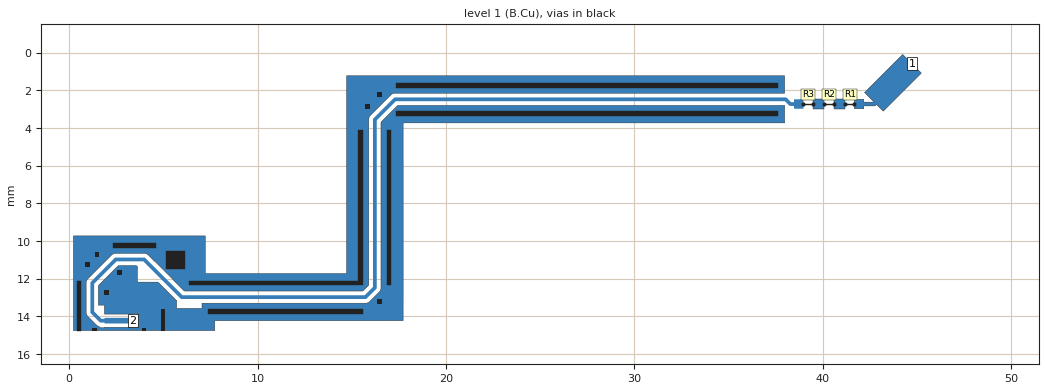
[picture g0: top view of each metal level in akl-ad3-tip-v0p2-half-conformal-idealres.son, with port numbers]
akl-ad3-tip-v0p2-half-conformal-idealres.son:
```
FTYP SONPROJ 19 ! Sonnet Project File
VER 18.01
HEADER
LIC antikernel2.1.51176 90e2ba8817c1 havequick azonenberg FullLicense
DAT 10/10/2021 12:56:38
BUILT_BY_CREATED dxf 18.01 09/25/2021 05:46:11
BUILT_BY_SAVED sonnet 18.01
MDATE 10/08/2021 20:35:02
HDATE 10/08/2021 20:35:02
ANN Created by dxfgeo, Sonnet Software Inc.
END HEADER
DIM
ANG DEG
CAP PF
CON /OH
FREQ GHZ
IND NH
LNG MM
RES OH
END DIM
CONTROL
VARSWP
OPTIONS  -dj
SPEED 1
CACHE_ABS 2
Q_ACC N
END CONTROL
GEO
TMET "Free Space" 0 FREESPACE 376.7303136 0 0 0
BMET "Lossless" 0 SUP 0 0 0 0
MET "Copper 1oz thick" 1 TMM 58000000 0.5 0.035 2
MET "Unknown_metal" 1 VOL INF 0
BOX 2 50 15 4000 1200 20 0
      5 1 1 0 0 0 0 "Air"
      0.035 4.3 1 0.02 0 0 0 "Soldermask"
      0.1016 3.2 1 0.002 0 0 0 "Panasonic R-F775"
TECHLAY METAL B.Cu L1D0 -1 -65534 
1 0 0 N 229 1 1 100 100 0 0 0 Y
END
END
TECHLAY VIA Via1 L2D0 -2 -65534 
VIA POLYGON
1 0 -1 N 1020 1 1 100 100 0 0 0 Y
TOLEVEL 2 RING NOCOVERS
END
END
TECHLAY METAL B.Cu_Conformal <UNSPECIFIED> -3 0 
1 0 0 V 464 1 1 100 100 0 0 0 Y
END
END
LORGN 0 15 U 
POR1 CUP Auto
GNDREF AUTO
TERMW FEED
POLY 21 1
19
1 50 0 0 0 44.736 0.589 NONE 3
CUPGRP "Auto" LOCAL
ID 1027
END
POR1 CUP Auto
GNDREF AUTO
TERMW FEED
POLY 474 1
123
2 50 0 0 0 3.375 14.225 
CUPGRP "Auto" LOCAL
ID 1029
DRP1 LEFT NONE 2
END
SMD 1 "R1"
ID 255
GNDREF AUTO
DRP1 RIGHT NONE 1
DRP1 LEFT NONE 1
SBOX 41.3 41.55 2.6 2.85
PBSHW N
LPOS 41.425 2.6
TYPE IDEAL RES 200
SMDP 1 41.675 2.725 R 3 1 
EXSMDP
GNDREF AUTO
TERMW FEED
END EXSMDP
SMDP 1 41.175 2.725 L 4 2 
EXSMDP
GNDREF AUTO
TERMW FEED
END EXSMDP
END
SMD 1 "R2"
ID 282
GNDREF AUTO
DRP1 RIGHT NONE 1
DRP1 LEFT NONE 1
SBOX 40.2 40.45 2.6 2.85
PBSHW N
LPOS 40.325 2.6
TYPE IDEAL RES 200
SMDP 1 40.575 2.725 R 5 1 
EXSMDP
GNDREF AUTO
TERMW FEED
END EXSMDP
SMDP 1 40.075 2.725 L 6 2 
EXSMDP
GNDREF AUTO
TERMW FEED
END EXSMDP
END
SMD 1 "R3"
ID 287
GNDREF AUTO
DRP1 RIGHT NONE 1
DRP1 LEFT NONE 1
SBOX 39.1 39.35 2.6 2.85
PBSHW N
LPOS 39.225 2.6
TYPE IDEAL RES 50
SMDP 1 39.475 2.725 R 7 1 
EXSMDP
GNDREF AUTO
TERMW FEED
END EXSMDP
SMDP 1 38.975 2.725 L 8 2 
EXSMDP
GNDREF AUTO
TERMW FEED
END EXSMDP
END
NUM 23
1 5 0 N 5 1 1 100 100 0 0 0 Y
TLAYNAM B.Cu INH
39.475 2.975
39.475 2.475
40.075 2.475
40.075 2.975
39.475 2.975
END
1 5 0 N 6 1 1 100 100 0 0 0 Y
TLAYNAM B.Cu INH
40.575 2.975
40.575 2.475
41.175 2.475
41.175 2.975
40.575 2.975
END
1 381 0 N 485 1 1 100 100 0 0 0 Y
TLAYNAM B.Cu INH
7.726 14.487
7.724 14.477
7.724 14.472
7.726 14.463
7.726 14.226
7.963 14.226
7.973 14.224
7.978 14.224
7.987 14.226
16.581 14.226
16.5865 14.225
17.725 14.225
17.725 13.0865
17.726 13.081
17.726 5.9
17.725 5.9
17.725 4.732
17.724 4.727
17.724 4.724
17.725 4.714
17.725 4.713
17.725 3.725
18.718 3.725
18.723 3.724
18.73 3.724
18.734 3.725
20.025 3.725
20.025 3.726
37.869 3.726
37.8745 3.725
37.975 3.725
37.975 3.6245
37.976 3.619
37.976 2.925
37.975 2.9195
37.975 2.8
37.85 2.8
37.85 2.8
17.474 2.8
17.465 2.801
17.454 2.803
17.444 2.806
17.434 2.81
17.429 2.813
17.423 2.816
17.417 2.821
17.415 2.822
17.406 2.829
16.58 3.655
16.566 3.673
16.561 3.683
16.557 3.693
16.554 3.704
16.552 3.714
16.552 3.716
16.55 3.726
16.55 12.462
16.552 12.471
16.552 12.476
16.551 12.48
16.55 12.49
16.544 12.541
16.527 12.601
16.497 12.657
16.456 12.706
16.453 12.709
16.45 12.711
16.444 12.716
15.966 13.194
15.957 13.206
15.956 13.207
15.908 13.246
15.847 13.278
15.786 13.296
15.748 13.3
15.738 13.3
15.729 13.302
15.722 13.302
15.71 13.3
7.05 13.3
7.05 13.575
5.7 13.575
5.7 13.24466667
5.702 13.238
5.704 13.227
5.705 13.216
5.705 13.205
5.704 13.194
5.702 13.183
5.7 13.17633333
5.7 13.15
5.6872 13.15
5.683 13.143
5.676 13.135
5.668 13.128
4.759 12.219
4.756 12.214
4.748 12.206
4.739 12.199
4.73 12.193
4.72 12.188
4.71 12.184
4.699 12.181
4.689 12.179
4.678 12.177
4.666 12.177
4.655 12.179
3.625 12.179
3.625 11.4535
3.626 11.451
3.629 11.44
3.632 11.43
3.633 11.419
3.633 11.407
3.632 11.396
3.629 11.386
3.626 11.375
3.625 11.3725
3.625 11.35
3.613666667 11.35
3.611 11.346
3.604 11.337
3.596 11.33
3.578 11.316
3.568 11.311
3.558 11.307
3.548 11.304
3.547 11.304
3.537 11.302
3.526 11.3
2.649 11.3
2.64 11.301
2.629 11.303
2.619 11.306
2.609 11.31
2.604 11.313
2.598 11.316
2.592 11.321
2.59 11.322
2.581 11.329
1.591 12.319
1.587 12.322
1.58 12.33
1.566 12.348
1.561 12.358
1.557 12.368
1.554 12.378
1.554 12.379
1.552 12.389
1.55 12.4
1.55 12.975
1.55 12.975
1.55 13.286
1.55 13.286
1.55 13.286
1.55 13.4
1.875 13.4
1.875 13.575
1.875 13.875
3.375 13.875
3.375 13.85
3.386 13.851
3.602 13.851
3.626 13.875
3.621 13.927
3.608 13.969
3.608 13.97
3.607 13.972
3.599 13.992
3.597 14.003
3.596 14.014
3.596 14.027
3.601 14.069
3.601 14.38
3.597 14.424
3.596 14.436
3.6 14.458
3.603 14.468
3.603 14.469
3.605 14.473
3.606 14.478
3.607 14.478
3.607 14.479
3.622 14.528
3.626 14.575
3.601 14.6
3.386 14.6
3.381 14.601
3.375 14.601
3.375 14.575
1.875 14.575
1.875 14.601
1.869 14.601
1.864 14.6
1.649 14.6
1.619 14.57
1.612 14.562
1.604 14.554
1.596 14.547
1.586 14.541
1.577 14.536
1.566 14.531
1.548 14.526
1.505 14.503
1.504 14.502
1.487 14.491
1.444 14.456
1.441 14.453
1.439 14.45
1.434 14.444
1.006 14.016
0.994 14.007
0.993 14.006
0.954 13.958
0.922 13.897
0.906 13.842
0.901 13.802
0.901 13.79
0.899 13.779
0.899 13.778
0.901 13.76
0.9 13.748
0.901 12.24
0.899 12.229
0.898 12.223
0.901 12.191
0.903 12.18
0.905 12.158
0.906 12.156
0.907 12.153
0.909 12.148
0.912 12.136
0.924 12.099
0.954 12.043
0.981 12.009
0.984 12.006
0.99 11.998
0.994 11.994
0.994 11.993
0.995 11.992
0.997 11.991
1 11.989
1.006 11.984
2.234 10.756
2.243 10.744
2.244 10.743
2.292 10.704
2.353 10.672
2.408 10.656
2.448 10.651
2.46 10.651
2.471 10.649
2.472 10.649
2.49 10.651
3.96 10.651
3.971 10.649
3.972 10.649
3.99 10.651
4.002 10.651
4.041 10.656
4.101 10.673
4.157 10.703
4.206 10.743
4.206 10.744
4.209 10.748
4.216 10.757
4.535 11.076
4.54 11.08
4.545 11.083
4.549 11.086
4.551 11.088
4.561 11.093
4.566 11.095
4.568 11.096
4.57 11.096
4.571 11.097
4.572670625 11.09745563
5.526544375 12.05132937
5.527 12.053
5.531 12.063
5.536 12.073
5.55 12.091
6.08 12.621
6.098 12.635
6.108 12.64
6.118 12.644
6.129 12.647
6.139 12.649
6.15 12.651
15.55 12.651
15.572 12.647
15.582 12.644
15.592 12.64
15.602 12.635
15.62 12.621
15.871 12.37
15.885 12.352
15.89 12.342
15.894 12.332
15.897 12.321
15.899 12.311
15.901 12.3
15.9 12.288
15.901 3.565
15.899 3.554
15.899 3.552
15.906 3.483
15.923 3.424
15.954 3.368
15.981 3.334
15.984 3.331
15.99 3.323
15.994 3.319
15.994 3.318
15.995 3.317
15.997 3.316
16 3.314
16.006 3.309
17.059 2.256
17.064 2.249
17.065 2.248
17.098 2.221
17.105 2.214
17.117 2.204
17.178 2.172
17.233 2.156
17.273 2.151
17.285 2.151
17.296 2.149
17.297 2.149
17.315 2.151
37.869 2.151
37.8745 2.15
37.975 2.15
37.975 2.0495
37.976 2.044
37.976 1.332
37.975 1.3265
37.975 1.225
37.487 1.225
37.472 1.227
37.471 1.227
37.463 1.225
14.725 1.225
14.725 1.45
14.725 3.119
14.725 3.119
14.725 3.119
14.725 3.25
14.725 3.25
14.725 11.463
14.727 11.478
14.727 11.479
14.725 11.487
14.725 11.724
14.723 11.725
14.487 11.725
14.472 11.727
14.471 11.727
14.463 11.725
7.487 11.725
7.472 11.727
7.471 11.727
7.463 11.725
7.226 11.725
7.226 11.487
7.224 11.477
7.224 11.472
7.226 11.463
7.226 10.869
7.225 10.8635
7.225 9.725
6.08 9.725
6.08 9.725
1.368 9.725
1.368 9.725
0.225 9.725
0.225 10.869
0.225 14.75
7.726 14.75
7.726 14.487
END
VIA POLYGON
1 5 -1 N 74 1 1 100 100 0 0 0 Y
TOLEVEL 2 RING NOCOVERS
TLAYNAM Via1 INH
16.85 12.35
16.85 4.1
17.1 4.1
17.1 12.35
16.85 12.35
END
VIA POLYGON
1 5 -1 N 75 1 1 100 100 0 0 0 Y
TOLEVEL 2 RING NOCOVERS
TLAYNAM Via1 INH
17.35 3.35
17.35 3.1
37.6 3.1
37.6 3.35
17.35 3.35
END
VIA POLYGON
1 5 -1 N 81 1 1 100 100 0 0 0 Y
TOLEVEL 2 RING NOCOVERS
TLAYNAM Via1 INH
7.35 13.85
7.35 13.6
15.6 13.6
15.6 13.85
7.35 13.85
END
VIA POLYGON
1 5 -1 N 91 1 1 100 100 0 0 0 Y
TOLEVEL 2 RING NOCOVERS
TLAYNAM Via1 INH
16.35 13.35
16.35 13.1
16.6 13.1
16.6 13.35
16.35 13.35
END
VIA POLYGON
1 5 -1 N 92 1 1 100 100 0 0 0 Y
TOLEVEL 2 RING NOCOVERS
TLAYNAM Via1 INH
1.85 12.85
1.85 12.6
2.1 12.6
2.1 12.85
1.85 12.85
END
VIA POLYGON
1 5 -1 N 96 1 1 100 100 0 0 0 Y
TOLEVEL 2 RING NOCOVERS
TLAYNAM Via1 INH
15.725 2.975
15.725 2.725
15.975 2.725
15.975 2.975
15.725 2.975
END
VIA POLYGON
1 5 -1 N 97 1 1 100 100 0 0 0 Y
TOLEVEL 2 RING NOCOVERS
TLAYNAM Via1 INH
16.35 2.35
16.35 2.1
16.6 2.1
16.6 2.35
16.35 2.35
END
VIA POLYGON
1 5 -1 N 98 1 1 100 100 0 0 0 Y
TOLEVEL 2 RING NOCOVERS
TLAYNAM Via1 INH
17.35 1.85
17.35 1.6
37.6 1.6
37.6 1.85
17.35 1.85
END
VIA POLYGON
1 5 -1 N 112 1 1 100 100 0 0 0 Y
TOLEVEL 2 RING NOCOVERS
TLAYNAM Via1 INH
2.54 11.8
2.54 11.55
2.79 11.55
2.79 11.8
2.54 11.8
END
VIA POLYGON
1 5 -1 N 113 1 1 100 100 0 0 0 Y
TOLEVEL 2 RING NOCOVERS
TLAYNAM Via1 INH
0.85 11.35
0.85 11.1
1.1 11.1
1.1 11.35
0.85 11.35
END
VIA POLYGON
1 5 -1 N 116 1 1 100 100 0 0 0 Y
TOLEVEL 2 RING NOCOVERS
TLAYNAM Via1 INH
1.35 10.85
1.35 10.6
1.6 10.6
1.6 10.85
1.35 10.85
END
VIA POLYGON
1 5 -1 N 117 1 1 100 100 0 0 0 Y
TOLEVEL 2 RING NOCOVERS
TLAYNAM Via1 INH
5.125 11.5
5.125 10.5
6.125 10.5
6.125 11.5
5.125 11.5
END
VIA POLYGON
1 5 -1 N 118 1 1 100 100 0 0 0 Y
TOLEVEL 2 RING NOCOVERS
TLAYNAM Via1 INH
2.35 10.35
2.35 10.1
4.6 10.1
4.6 10.35
2.35 10.35
END
VIA POLYGON
1 8 -1 N 392 1 1 100 100 0 0 0 Y
TOLEVEL 2 RING NOCOVERS
TLAYNAM Via1 INH
15.6 12.1
15.6 4.1
15.35 4.1
15.35 12.1
6.35 12.1
6.35 12.35
15.6 12.35
15.6 12.1
END
VIA POLYGON
1 5 -1 N 430 1 1 100 100 0 0 0 Y
TOLEVEL 2 RING NOCOVERS
TLAYNAM Via1 INH
0.65 12.1
0.4 12.1
0.4 14.75
0.65 14.75
0.65 12.1
END
VIA POLYGON
1 5 -1 N 431 1 1 100 100 0 0 0 Y
TOLEVEL 2 RING NOCOVERS
TLAYNAM Via1 INH
4.1 14.6
3.85 14.6
3.85 14.75
4.1 14.75
4.1 14.6
END
VIA POLYGON
1 5 -1 N 432 1 1 100 100 0 0 0 Y
TOLEVEL 2 RING NOCOVERS
TLAYNAM Via1 INH
1.451 14.619
1.201 14.619
1.201 14.75
1.451 14.75
1.451 14.619
END
VIA POLYGON
1 5 -1 N 433 1 1 100 100 0 0 0 Y
TOLEVEL 2 RING NOCOVERS
TLAYNAM Via1 INH
5.1 13.6
4.85 13.6
4.85 14.75
5.1 14.75
5.1 13.6
END
1 22 0 V 21 1 1 100 100 0 0 0 Y
TLAYNAM B.Cu_Conformal INH
43.209 3.106
42.847 2.744
42.792 2.799
42.785 2.805
42.776 2.811
42.768 2.816
42.759 2.819
42.749 2.822
42.74 2.824
42.73 2.825
42.175 2.825
42.175 2.975
41.675 2.975
41.675 2.475
42.175 2.475
42.175 2.625
42.684 2.625
42.706 2.603
42.219 2.116
44.241 0.094
45.231 1.084
43.209 3.106
END
1 125 0 V 474 1 1 100 100 0 0 0 Y
TLAYNAM B.Cu_Conformal INH
3.375 14.075
1.875 14.075
1.875 14.125
1.716 14.125
1.325 13.734
1.325 12.266
2.516 11.075
3.934 11.075
5.908 13.049
5.915 13.055
5.924 13.061
5.932 13.066
5.941 13.069
5.951 13.072
5.96 13.074
5.97 13.075
15.73 13.075
15.74 13.074
15.749 13.072
15.759 13.069
15.768 13.066
15.776 13.061
15.785 13.055
15.792 13.049
16.299 12.542
16.305 12.535
16.311 12.526
16.316 12.518
16.319 12.509
16.322 12.499
16.324 12.49
16.325 12.48
16.325 3.591
17.341 2.575
37.984 2.575
38.208 2.799
38.215 2.805
38.224 2.811
38.232 2.816
38.241 2.819
38.251 2.822
38.26 2.824
38.27 2.825
38.475 2.825
38.475 2.975
38.975 2.975
38.975 2.475
38.475 2.475
38.475 2.625
38.316 2.625
38.105 2.415
38.099 2.408
38.092 2.401
38.085 2.395
38.076 2.389
38.068 2.384
38.059 2.381
38.049 2.378
38.04 2.376
38.03 2.375
17.295 2.375
17.285 2.376
17.276 2.378
17.266 2.381
17.257 2.384
17.249 2.389
17.24 2.395
17.233 2.401
16.151 3.483
16.145 3.49
16.139 3.499
16.134 3.507
16.131 3.516
16.128 3.526
16.126 3.535
16.125 3.545
16.125 12.434
15.684 12.875
6.016 12.875
4.055 10.915
4.049 10.908
4.042 10.901
4.035 10.895
4.026 10.889
4.018 10.884
4.009 10.881
3.999 10.878
3.99 10.876
3.98 10.875
2.47 10.875
2.46 10.876
2.451 10.878
2.441 10.881
2.432 10.884
2.424 10.889
2.415 10.895
2.408 10.901
1.151 12.158
1.145 12.165
1.139 12.174
1.134 12.182
1.131 12.191
1.128 12.201
1.126 12.21
1.125 12.22
1.125 13.78
1.126 13.79
1.128 13.799
1.131 13.809
1.134 13.818
1.139 13.826
1.145 13.835
1.151 13.842
1.608 14.299
1.615 14.305
1.624 14.311
1.632 14.316
1.641 14.319
1.651 14.322
1.66 14.324
1.67 14.325
1.875 14.325
1.875 14.375
3.375 14.375
3.375 14.075
END
END GEO
OPT
MAX 100
END OPT
VARSWP
ENABLED Y
FREQ Y AY ABS_ENTRY 0.01 25.0 -1 300 
END
END VARSWP
```
